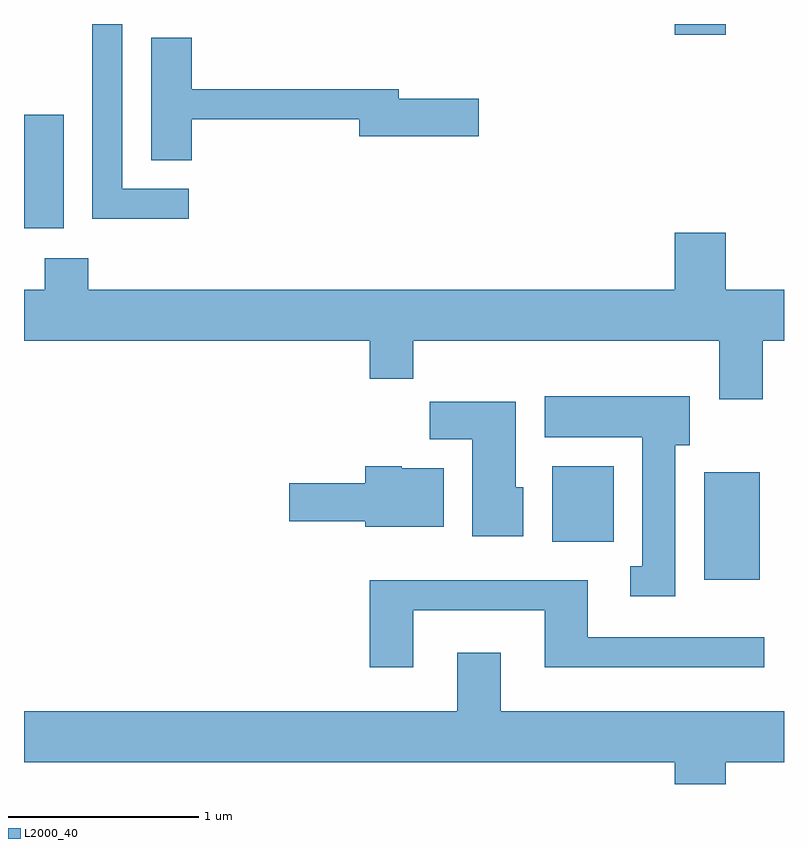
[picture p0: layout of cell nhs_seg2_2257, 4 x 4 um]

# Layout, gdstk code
import gdstk
lib = gdstk.Library(unit=1e-6, precision=1e-09)
def R(c, l, rs):  # rectangles x0, y0, x1, y1
    for r in rs: c.add(gdstk.rectangle(r[:2], r[2:], *l))
def P(c, l, *ps):  # polygons
    for p in ps: c.add(gdstk.Polygon(p, *l))
L2000_40 = (2000, 40)

nhs_seg2_2257 = lib.new_cell('nhs_seg2_2257')
R(nhs_seg2_2257, L2000_40, [(255.191,1004.876,255.484,1005.444), (254.391,1005.076,254.714,1005.474), (251.611,1006.726,251.819,1007.324), (255.036,1007.746,255.304,1007.802)])
P(nhs_seg2_2257, L2000_40, [(252.478,1006.934),(252.129,1006.934),(252.129,1007.802),(251.971,1007.802),(251.971,1006.776),(252.478,1006.776)],
  [(252.494,1007.301),(253.376,1007.301),(253.376,1007.211),(254.004,1007.211),(254.004,1007.409),(253.584,1007.409),(253.584,1007.459),(252.494,1007.459),(252.494,1007.729),(252.281,1007.729),(252.281,1007.086),(252.494,1007.086)],
  [(255.499,1006.136),(255.611,1006.136),(255.611,1006.404),(255.304,1006.404),(255.304,1006.704),(255.036,1006.704),(255.036,1006.404),(251.949,1006.404),(251.949,1006.569),(251.721,1006.569),(251.721,1006.404),(251.611,1006.404),(251.611,1006.136),(253.431,1006.136),(253.431,1005.936),(253.659,1005.936),(253.659,1006.136),(255.271,1006.136),(255.271,1005.826),(255.499,1005.826)],
  [(255.039,1005.586),(255.114,1005.586),(255.114,1005.844),(254.351,1005.844),(254.351,1005.626),(254.866,1005.626),(254.866,1004.949),(254.803,1004.949),(254.803,1004.791),(255.039,1004.791)],
  [(254.239,1005.364),(254.199,1005.364),(254.199,1005.814),(253.746,1005.814),(253.746,1005.616),(253.971,1005.616),(253.971,1005.106),(254.239,1005.106)],
  [(253.819,1005.464),(253.6,1005.464),(253.6,1005.474),(253.406,1005.474),(253.406,1005.384),(253.006,1005.384),(253.006,1005.186),(253.406,1005.186),(253.406,1005.156),(253.819,1005.156)],
  [(253.659,1004.716),(254.351,1004.716),(254.351,1004.416),(255.508,1004.416),(255.508,1004.574),(254.579,1004.574),(254.579,1004.874),(253.431,1004.874),(253.431,1004.416),(253.659,1004.416)],
  [(255.304,1003.916),(255.611,1003.916),(255.611,1004.184),(254.119,1004.184),(254.119,1004.494),(253.891,1004.494),(253.891,1004.184),(251.611,1004.184),(251.611,1003.916),(255.036,1003.916),(255.036,1003.802),(255.304,1003.802)])

lib.write_gds('nhs_seg2_2257.gds')
